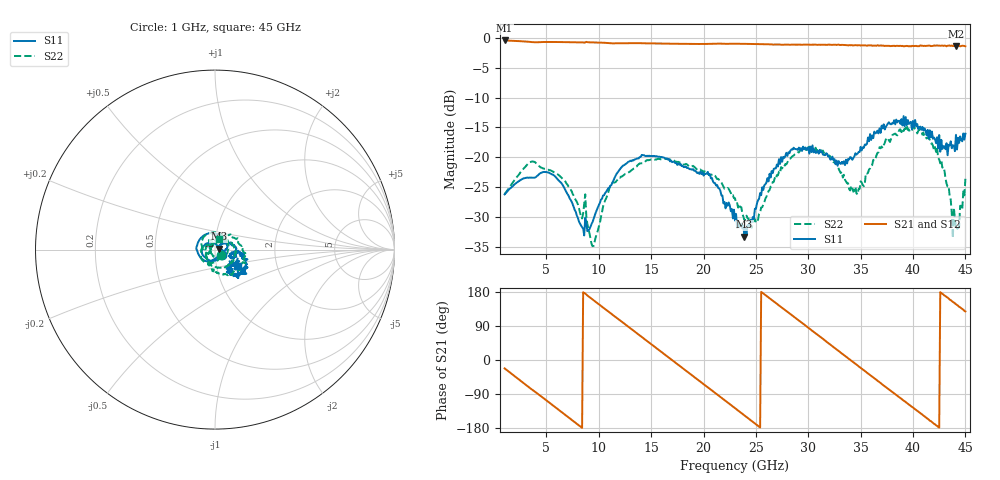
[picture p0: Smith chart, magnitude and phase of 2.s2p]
!Keysight Technologies,N5247B,MY61255062,A.19.80.06
!Date: Monday, May 18, 2026 11:49:44
!Correction: S11(Cdelta 2-Port  )
!S21(Cdelta 2-Port  )
!S12(Cdelta 2-Port  )
!S22(Cdelta 2-Port  )
!S2P File: Measurements: S11, S21, S12, S22:
# Hz S  dB  R 50
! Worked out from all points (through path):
!   441 points, 1 GHz to 45 GHz, reference 50 ohm
!   highest |S21| = -0.41 dB at 1 GHz (marker M1); lowest = -1.4 dB at 44.1 GHz (marker M2)
!   group delay of S21, straight-line fit = 58.6 ps
!   lowest |S11| = -33.3 dB at 23.9 GHz (marker M3), VSWR 1.04, Z = 52.1 + j0.493 ohm
!   |S11| at or under -10 dB: start of sweep to end of sweep
!   |S22| runs from -34.9 to -14.6 dB; largest |S21 - S12| = 0.015
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1e9  -26.24 -40.9  -0.41 -22.1  -0.41 -22.1  -26.25 -42.4
2.9e9  -23.53 -112.8  -0.58 -63.1  -0.58 -63.1  -21.77 -111.0
4.6e9  -22.56 -155.0  -0.67 -98.2  -0.68 -98.3  -21.83 -162.8
6.7e9  -25.17 139.4  -0.69 -142.9  -0.69 -142.9  -23.94 159.1
8.4e9  -31.75 54.9  -0.72 -179.1  -0.73 -179.1  -30.28 134.7
9.5e9  -30.32 -35.4  -0.74 157.5  -0.74 157.5  -34.89 -176.9
1.22e10  -21.61 -130.2  -0.88 100.8  -0.88 100.7  -23.24 176.4
1.38e10  -20.22 -172.8  -0.86 67.0  -0.86 66.9  -21.20 150.3
1.57e10  -19.94 134.1  -0.92 26.8  -0.93 26.7  -20.28 110.0
1.77e10  -21.27 80.7  -0.98 -15.3  -0.99 -15.4  -20.87 63.4
1.99e10  -22.51 32.8  -1.00 -61.4  -1.01 -61.4  -22.26 12.2
2.3e10  -30.63 -9.6  -0.96 -127.0  -0.97 -127.1  -26.87 -83.9
2.39e10  -33.34 12.7  -0.98 -146.2  -0.99 -146.3  -30.57 -129.8
2.67e10  -21.96 33.5  -1.10 154.5  -1.08 154.4  -24.13 71.0
2.86e10  -18.41 3.1  -1.11 114.7  -1.10 114.6  -19.73 13.6
3.04e10  -18.02 -18.7  -1.12 76.8  -1.13 76.7  -18.89 -36.8
3.4e10  -19.98 -11.3  -1.22 0.4  -1.20 0.3  -25.57 -162.2
3.77e10  -14.14 -24.4  -1.30 -77.5  -1.28 -77.8  -17.20 19.9
3.95e10  -13.77 -39.1  -1.35 -115.1  -1.41 -115.6  -15.43 -24.2
4.14e10  -15.41 -56.9  -1.30 -155.2  -1.34 -155.4  -16.67 -72.0
4.41e10  -16.24 -40.3  -1.42 147.0  -1.39 146.9  -32.16 145.6
4.5e10  -16.06 -36.2  -1.40 128.2  -1.35 128.1  -23.63 68.6
